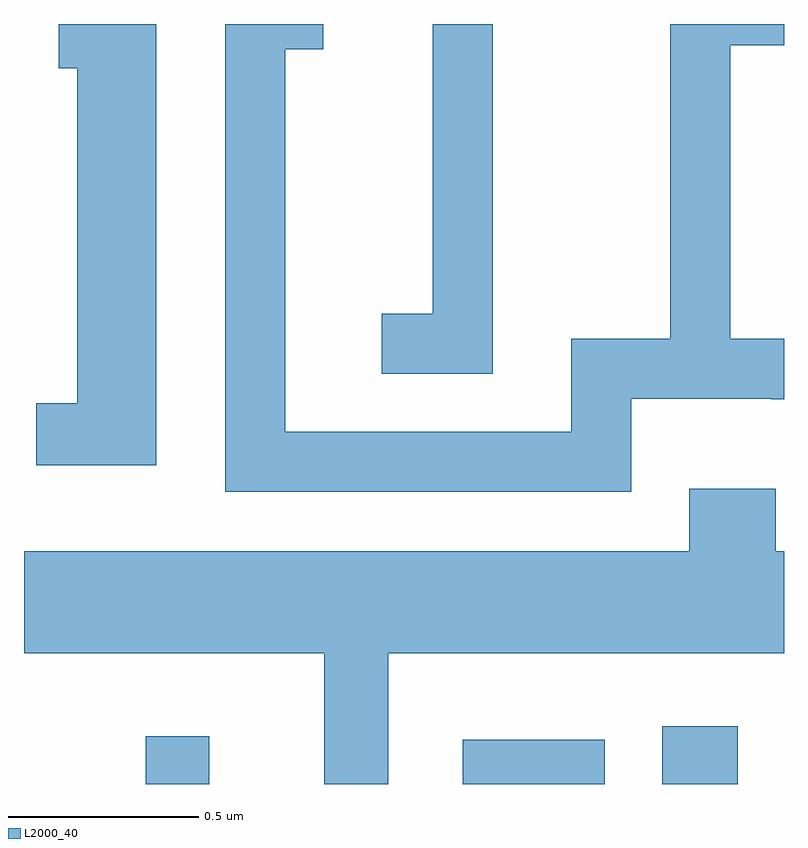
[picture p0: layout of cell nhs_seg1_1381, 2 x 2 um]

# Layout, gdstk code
import gdstk
lib = gdstk.Library(unit=1e-6, precision=1e-09)
def R(c, l, rs):  # rectangles x0, y0, x1, y1
    for r in rs: c.add(gdstk.rectangle(r[:2], r[2:], *l))
def P(c, l, *ps):  # polygons
    for p in ps: c.add(gdstk.Polygon(p, *l))
L2000_40 = (2000, 40)

nhs_seg1_1381 = lib.new_cell('nhs_seg1_1381')
R(nhs_seg1_1381, L2000_40, [(195.931,863.712,196.099,863.838), (196.766,863.712,197.139,863.829), (197.291,863.712,197.489,863.864)])
P(nhs_seg1_1381, L2000_40, [(197.209,864.726),(197.578,864.726),(197.578,864.724),(197.611,864.724),(197.611,864.884),(197.469,864.884),(197.469,865.656),(197.611,865.656),(197.611,865.712),(197.311,865.712),(197.311,864.884),(197.051,864.884),(197.051,864.639),(196.299,864.639),(196.299,865.646),(196.398,865.646),(196.398,865.712),(196.141,865.712),(196.141,864.481),(197.209,864.481)],
  [(195.959,865.712),(195.703,865.712),(195.703,865.596),(195.751,865.596),(195.751,864.714),(195.643,864.714),(195.643,864.551),(195.959,864.551)],
  [(196.844,865.712),(196.686,865.712),(196.686,864.949),(196.553,864.949),(196.553,864.791),(196.844,864.791)],
  [(196.569,864.056),(197.611,864.056),(197.611,864.324),(197.589,864.324),(197.589,864.489),(197.361,864.489),(197.361,864.324),(195.611,864.324),(195.611,864.056),(196.401,864.056),(196.401,863.712),(196.569,863.712)])

lib.write_gds('nhs_seg1_1381.gds')
